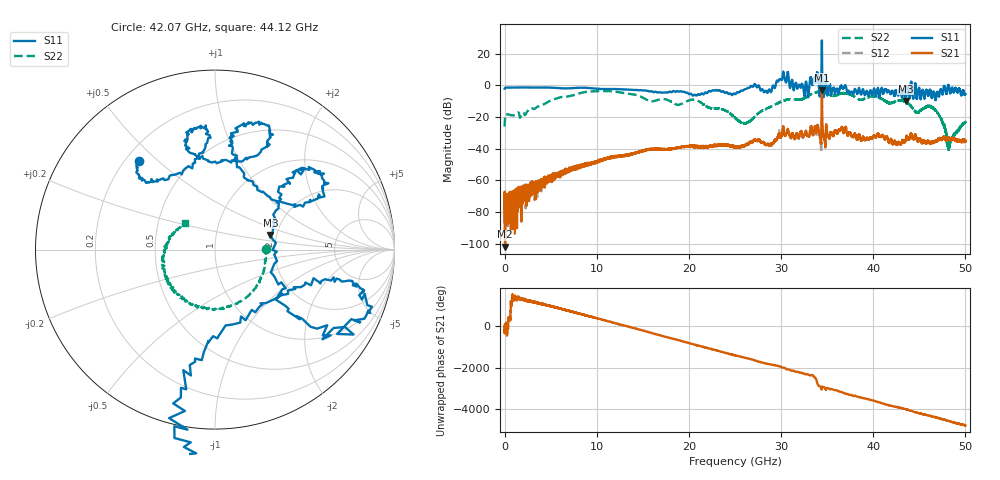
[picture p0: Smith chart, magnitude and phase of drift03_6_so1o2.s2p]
!Created with skrf (http://scikit-rf.org).
# Hz S RI R 50.0
!freq ReS11 ImS11 ReS21 ImS21 ReS12 ImS12 ReS22 ImS22
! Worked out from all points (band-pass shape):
!   10000 points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, 5.3 MHz to 50 GHz, reference 50 ohm
!   highest |S21| = -3.06 dB at 34.43 GHz (marker M1); lowest = -102.0 dB at 55.3 MHz (marker M2)
!   |S21| within 3 dB of the highest: 34.42728 GHz to 34.43425 GHz (6.97 MHz wide, 0.0202 % of centre)
!   lowest |S11| = -9.9 dB at 43.52 GHz (marker M3), VSWR 1.94, Z = 92.7 + j16.7 ohm
!   |S11| at or under -10 dB: nowhere
!   |S22| runs from -42.5 to -3.6 dB; largest |S21 - S12| = 0.23
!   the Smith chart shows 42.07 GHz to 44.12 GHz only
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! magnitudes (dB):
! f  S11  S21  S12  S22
! 5.3 MHz  -2.1  -68.7  -76.4  -26.0
! 55.3 MHz  -1.6  -102.0  -77.6  -20.5
! 870.3 MHz  -1.4  -76.2  -75.2  -19.0
! 2.12 GHz  -1.3  -69.8  -66.9  -18.1
! 8.34 GHz  -1.5  -50.8  -50.8  -4.7
! 16.67 GHz  -4.4  -40.2  -40.1  -9.1
! 20.72 GHz  -6.2  -38.6  -38.3  -9.3
! 25.01 GHz  -5.5  -38.7  -39.0  -20.6
! 26.27 GHz  -2.1  -36.7  -37.4  -23.8
! 28.72 GHz  -2.5  -37.5  -37.6  -14.0
! 30.14 GHz  4.3  -29.6  -29.6  -10.0
! 32.74 GHz  2.1  -29.4  -29.1  -7.4
! 33.34 GHz  2.4  -27.5  -27.7  -5.3
! 33.82 GHz  3.9  -28.9  -29.3  -4.3
! 34.43 GHz  28.4  -3.1  -5.2  -4.0
! 36.47 GHz  -0.6  -28.1  -28.1  -5.2
! 41.67 GHz  -3.5  -35.7  -35.8  -11.4
! 43.52 GHz  -9.9  -34.4  -34.7  -10.4
! 44.73 GHz  -8.4  -34.4  -34.2  -17.1
! 46.64 GHz  -4.9  -35.3  -35.7  -15.2
! 48.25 GHz  -1.7  -33.1  -33.7  -37.0
! 50 GHz  -5.4  -35.8  -34.9  -23.2
